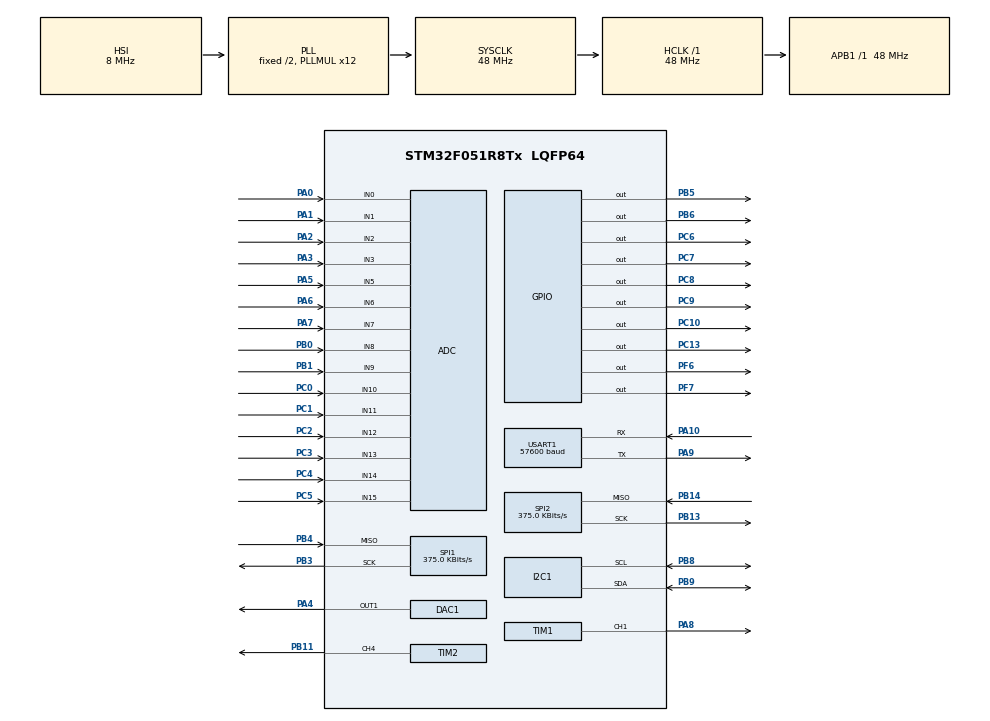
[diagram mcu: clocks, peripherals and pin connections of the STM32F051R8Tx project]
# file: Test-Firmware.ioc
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DAC1.DAC_OutputBuffer=DAC_OUTPUTBUFFER_ENABLE
Dma.ADC.0.Direction=DMA_PERIPH_TO_MEMORY
Dma.ADC.0.Instance=DMA1_Channel1
Dma.ADC.0.MemDataAlignment=DMA_MDATAALIGN_HALFWORD
Dma.ADC.0.MemInc=DMA_MINC_ENABLE
Dma.ADC.0.Mode=DMA_NORMAL
Dma.ADC.0.PeriphDataAlignment=DMA_PDATAALIGN_HALFWORD
Dma.ADC.0.PeriphInc=DMA_PINC_DISABLE
Dma.ADC.0.Priority=DMA_PRIORITY_LOW
Dma.Request0=ADC
Mcu.Family=STM32F0
Mcu.Name=STM32F051R8Tx
Mcu.Package=LQFP64
NVIC.DMA1_Channel1_IRQn=true\:0\:0\:false\:false\:true\:false\:true\:true
NVIC.TIM1_BRK_UP_TRG_COM_IRQn=true\:1\:0\:true\:false\:true\:true\:true\:true
NVIC.TIM1_CC_IRQn=true\:1\:0\:true\:false\:true\:true\:true\:true
NVIC.TIM2_IRQn=true\:1\:0\:true\:false\:true\:true\:true\:true
NVIC.USART1_IRQn=true\:0\:0\:true\:false\:true\:true\:true\:true
PA0.Mode=IN0
PA0.Signal=ADC_IN0
PA1.Mode=IN1
PA1.Signal=ADC_IN1
PA10.Mode=Asynchronous
PA10.Signal=USART1_RX
PA13.Mode=Serial_Wire
PA13.Signal=SYS_SWDIO
PA14.Mode=Serial_Wire
PA14.Signal=SYS_SWCLK
PA2.Mode=IN2
PA2.Signal=ADC_IN2
PA3.Mode=IN3
PA3.Signal=ADC_IN3
PA4.Signal=COMP_DAC11_group
PA5.Mode=IN5
PA5.Signal=ADC_IN5
PA6.Mode=IN6
PA6.Signal=ADC_IN6
PA7.Mode=IN7
PA7.Signal=ADC_IN7
PA8.Signal=S_TIM1_CH1
PA9.Mode=Asynchronous
PA9.Signal=USART1_TX
PB0.Mode=IN8
PB0.Signal=ADC_IN8
PB1.Mode=IN9
PB1.Signal=ADC_IN9
PB11.Signal=S_TIM2_CH4
PB13.Mode=RX_Only_Simplex_Unidirect_Master
PB13.Signal=SPI2_SCK
PB14.Mode=RX_Only_Simplex_Unidirect_Master
PB14.Signal=SPI2_MISO
PB3.Mode=RX_Only_Simplex_Unidirect_Master
PB3.Signal=SPI1_SCK
PB4.Mode=RX_Only_Simplex_Unidirect_Master
PB4.Signal=SPI1_MISO
PB5.Signal=GPIO_Output
PB6.Signal=GPIO_Output
PB8.Mode=I2C
PB8.Signal=I2C1_SCL
PB9.Mode=I2C
PB9.Signal=I2C1_SDA
PC0.Mode=IN10
PC0.Signal=ADC_IN10
PC1.Mode=IN11
PC1.Signal=ADC_IN11
PC10.Signal=GPIO_Output
PC13.Signal=GPIO_Output
PC14-OSC32_IN.Mode=LSE-External-Oscillator
PC14-OSC32_IN.Signal=RCC_OSC32_IN
PC15-OSC32_OUT.Mode=LSE-External-Oscillator
PC15-OSC32_OUT.Signal=RCC_OSC32_OUT
PC2.Mode=IN12
PC2.Signal=ADC_IN12
PC3.Mode=IN13
PC3.Signal=ADC_IN13
PC4.Mode=IN14
PC4.Signal=ADC_IN14
PC5.Mode=IN15
PC5.Signal=ADC_IN15
PC6.Signal=GPIO_Output
PC7.Signal=GPIO_Output
PC8.Signal=GPIO_Output
PC9.Signal=GPIO_Output
PF0-OSC_IN.Mode=HSE-External-Oscillator
PF0-OSC_IN.Signal=RCC_OSC_IN
PF1-OSC_OUT.Mode=HSE-External-Oscillator
PF1-OSC_OUT.Signal=RCC_OSC_OUT
PF6.Signal=GPIO_Output
PF7.Signal=GPIO_Output
ProjectManager.HeapSize=0x200
ProjectManager.StackSize=0x400
ProjectManager.TargetToolchain=STM32CubeIDE
RCC.AHBFreq_Value=48000000
RCC.APB1Freq_Value=48000000
RCC.APB1TimFreq_Value=48000000
RCC.HCLKFreq_Value=48000000
RCC.PLLMUL=RCC_PLL_MUL12
RCC.SYSCLKFreq_VALUE=48000000
RCC.SYSCLKSource=RCC_SYSCLKSOURCE_PLLCLK
RCC.Usart1ClockSelection=RCC_USART1CLKSOURCE_HSI
SH.COMP_DAC11_group.0=DAC1_OUT1,DAC_OUT1
SH.S_TIM1_CH1.0=TIM1_CH1,PWM Generation1 CH1
SH.S_TIM2_CH4.0=TIM2_CH4,PWM Generation4 CH4
SPI1.BaudRatePrescaler=SPI_BAUDRATEPRESCALER_128
SPI1.CalculateBaudRate=375.0 KBits/s
SPI1.DataSize=SPI_DATASIZE_16BIT
SPI1.Direction=SPI_DIRECTION_2LINES_RXONLY
SPI1.Mode=SPI_MODE_MASTER
SPI1.VirtualType=VM_MASTER
SPI2.BaudRatePrescaler=SPI_BAUDRATEPRESCALER_128
SPI2.CalculateBaudRate=375.0 KBits/s
SPI2.DataSize=SPI_DATASIZE_16BIT
SPI2.Direction=SPI_DIRECTION_2LINES_RXONLY
SPI2.Mode=SPI_MODE_MASTER
SPI2.VirtualType=VM_MASTER
TIM1.AutoReloadPreload=TIM_AUTORELOAD_PRELOAD_ENABLE
TIM1.Channel-PWM\ Generation1\ CH1=TIM_CHANNEL_1
TIM1.Period=48000 - 1
TIM1.Prescaler=100 - 1
TIM1.Pulse-PWM\ Generation1\ CH1=480 -1
TIM2.AutoReloadPreload=TIM_AUTORELOAD_PRELOAD_ENABLE
TIM2.Channel-PWM\ Generation4\ CH4=TIM_CHANNEL_4
TIM2.Period=150 - 1
TIM2.Prescaler=1000 - 1
TIM2.Pulse-PWM\ Generation4\ CH4=30 - 1
USART1.BaudRate=57600
USART1.VirtualMode-Asynchronous=VM_ASYNC
VP_ADC_TempSens_Input.Mode=IN-TempSens
VP_ADC_Vref_Input.Mode=IN-Vrefint
VP_TIM1_VS_ClockSourceINT.Mode=Internal
VP_TIM2_VS_ClockSourceINT.Mode=Internal
board=custom

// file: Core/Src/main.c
/* USER CODE BEGIN Header */
// ---------------------------- FIRMWARE -------------------------------
/**
 ******************************************************************************
 * @file           : main.c
 * @brief          : Main program body
 ******************************************************************************
 * @attention
 *
 * Copyright (c) 2022 STMicroelectronics.
 * All rights reserved.
 *
 * This software is licensed under terms that can be found in the LICENSE file
 * in the root directory of this software component.
 * If no LICENSE file comes with this software, it is provided AS-IS.
 *
 ******************************************************************************
 */
/* USER CODE END Header */
#include "main.h"

/* USER CODE BEGIN Includes */
#include <stdlib.h>
#include <string.h>
/* USER CODE END Includes */

/* USER CODE BEGIN PTD */
typedef struct
{
  GPIO_TypeDef *gpio;
  uint16_t pin;
} gpio_pins;
const int HK_CADENCE = 1; // Should be set at 5
const gpio_pins gpios[] = {{GPIOB, GPIO_PIN_5}, {GPIOB, GPIO_PIN_6}, {GPIOC, GPIO_PIN_10}, {GPIOC, GPIO_PIN_13}, {GPIOC, GPIO_PIN_7}, {GPIOC, GPIO_PIN_8}, {GPIOC, GPIO_PIN_9}, {GPIOC, GPIO_PIN_6}, {GPIOF, GPIO_PIN_6}, {GPIOF, GPIO_PIN_7}};

/* USER CODE END PTD */

ADC_HandleTypeDef hadc;
DMA_HandleTypeDef hdma_adc;

DAC_HandleTypeDef hdac1;

I2C_HandleTypeDef hi2c1;

SPI_HandleTypeDef hspi1;
SPI_HandleTypeDef hspi2;

TIM_HandleTypeDef htim1;
TIM_HandleTypeDef htim2;

UART_HandleTypeDef huart1;

/* USER CODE BEGIN PV */
#define BUFFER_SIZE 100
unsigned char rx_buf[BUFFER_SIZE];
UART_WakeUpTypeDef WakeUpSelection;

/* Hexadecimal Addresses for I2C Temperature Sensors */
static const uint8_t ADT7410_1 = 0x48 << 1;
static const uint8_t ADT7410_2 = 0x4A << 1;
static const uint8_t ADT7410_3 = 0x49 << 1;
static const uint8_t ADT7410_4 = 0x4B << 1;

/* Internal ADC DMA variables */
#define ADCRESULTSDMA_LENGTH 17
volatile uint16_t adcResultsDMA[ADCRESULTSDMA_LENGTH];                        // array to store results of Internal ADC Poll (not sure if it has to be "volatile")
const int adcChannelCount = sizeof(adcResultsDMA) / sizeof(adcResultsDMA[0]); // variable to store the number of ADCs in use

/* DAC Variables for SWP */
uint32_t DAC_OUT[10] = {0, 0, 620, 1241, 1861, 2482, 3103, 3723, 4095, 4095}; // For 3.3 volts
uint8_t step = 0;
int auto_sweep = 0;
int is_increasing = 1;

/* SPI Variables */
int pmt_raw;           // Stores raw pmt SPI value
int erpa_raw;          // Stores raw epra SPI value
const int WRITE = 0x1; // Hex 0x1 that is sent to external ADC to trigger transfer of data

/* ERPA Packet Variables */
int SAMPLING_FACTOR = 1;
int FACTOR_COUNTER = 0;
int SWP_FACTOR_COUNTER = 0;

/* UART Variables */
const uint8_t erpa_sync = 0xAA; // SYNC byte to let packet interpreter / OBC know which packet is which
uint16_t erpa_seq = 0;          // SEQ byte which keeps track of what # ERPA packet is being sent (0-65535)
const uint8_t pmt_sync = 0xBB;  // SYNC byte to let packet interpreter / OBC know which packet is which
uint16_t pmt_seq = 0;           // SEQ byte which keeps track of what # ERPA packet is being sent (0-65535)
const uint8_t hk_sync = 0xCC;   // SYNC byte to let packet interpreter / OBC know which packet is which
uint16_t hk_seq = 0;            // SEQ byte which keeps track of what # HK packet is being sent (0-65535)

int hk_counter = 0; // counter to know when to send HK packet (sent every 50 ERPA packets)
                    // we put them in the same routine and send HK when this count == 50
uint8_t PMT_ON = 0;
uint8_t ERPA_ON = 0;
uint8_t HK_ON = 0;

static const uint8_t REG_TEMP = 0x00;
/* USER CODE END PV */

void SystemClock_Config(void);
static void MX_GPIO_Init(void);
static void MX_DMA_Init(void);
static void MX_SPI2_Init(void);
static void MX_TIM1_Init(void);
static void MX_TIM2_Init(void);
static void MX_SPI1_Init(void);
static void MX_USART1_UART_Init(void);
static void MX_DAC1_Init(void);
static void MX_ADC_Init(void);
static void MX_I2C1_Init(void);

/* USER CODE BEGIN 0 */

/**
 * @brief function to poll individual i2c sensor
 *
 * @param TEMP_ADDR address of individual i2c sensor
 * @return int16_t integer result from sensor
 */
int16_t poll_i2c_sensor(const uint8_t TEMP_ADDR)
{
  int16_t output;
  uint8_t buf[2];
  HAL_StatusTypeDef ret;
  buf[0] = REG_TEMP;
  ret = HAL_I2C_Master_Transmit(&hi2c1, TEMP_ADDR, buf, 1,
                                1000);
  if (ret != HAL_OK)
  {
    strcpy((char *)buf, "Error Tx\r\n");
  }
  else
  {
    /* Read 2 bytes from the temperature register */
    ret = HAL_I2C_Master_Receive(&hi2c1, TEMP_ADDR, buf, 2,
                                 1000);
    if (ret != HAL_OK)
    {
      strcpy((char *)buf, "Error Rx\r\n");
    }
    else
    {
      output = (int16_t)(buf[0] << 8);
      output = (output | buf[1]) >> 3;
    }
  }
  return output;
}

/**
 * @brief called in hk routine to poll each i2c sensor
 *
 * @return int16_t* size 4 buffer to return i2c values
 */
int16_t *i2c()
{
  int16_t output1 = poll_i2c_sensor(ADT7410_1);
  int16_t output2 = poll_i2c_sensor(ADT7410_2);
  int16_t output3 = poll_i2c_sensor(ADT7410_3);
  int16_t output4 = poll_i2c_sensor(ADT7410_4);

  int16_t *results = malloc(4 * sizeof(int16_t));
  results[0] = output1;
  results[1] = output2;
  results[2] = output3;
  results[3] = output4;
  return results;
}

/**
 * @brief polls hk adcs
 *
 * @param adc which adc to call (currently not being used)
 * @return uint16_t* results of hk adcs
 */
uint16_t *hk_adc(ADC_HandleTypeDef *adc)
{

  HAL_ADC_Start_DMA(&hadc, (uint32_t *)adcResultsDMA,
                    adcChannelCount);

  uint16_t PA1 = adcResultsDMA[1];       // ADC_IN1, BUS_Vmon: instrument bus voltage monitor
  uint16_t PA2 = adcResultsDMA[2];       // ADC_IN2, BUS_Imon: instrument bus current monitor
  uint16_t PA3 = adcResultsDMA[3];       // ADC_IN3, 3v3_mon: Accurate 5V for ADC monitor
  uint16_t PA5 = adcResultsDMA[4];       // ADC_IN5, n150v_mon: n150 voltage monitor
  uint16_t PA6 = adcResultsDMA[5];       // ADC_IN6, n800v_mon: n800 voltage monitor
  uint16_t PC0 = adcResultsDMA[9];       // ADC_IN10, 2v5_mon: 2.5v voltage monitor
  uint16_t PC1 = adcResultsDMA[10];      // ADC_IN11, n5v_mon: n5v voltage monitor
  uint16_t PC2 = adcResultsDMA[11];      // ADC_IN12, 5v_mon: 5v voltage monitor
  uint16_t PC3 = adcResultsDMA[12];      // ADC_IN13, n3v3_mon: n3v3 voltage monitor
  uint16_t PC4 = adcResultsDMA[13];      // ADC_IN14, 5vref_mon: 5v reference voltage monitor
  uint16_t PC5 = adcResultsDMA[14];      // ADC_IN15, 15v_mon: 15v voltage monitor
  uint16_t MCU_TEMP = adcResultsDMA[15]; //(internally connected) ADC_IN16, VSENSE
  uint16_t MCU_VREF = adcResultsDMA[16]; //(internally connected) ADC_IN17, VREFINT

  uint16_t *results = malloc(13 * sizeof(uint16_t));
  results[0] = MCU_TEMP;
  results[1] = MCU_VREF;
  results[2] = PA1;
  results[3] = PA2;
  results[4] = PC0;
  results[5] = PA3;
  results[6] = PC2;
  results[7] = PC3;
  results[8] = PC1;
  results[9] = PC5;
  results[10] = PC4;
  results[11] = PA5;
  results[12] = PA6;

  return results;
}

/**
 * @brief polls erpa adcs
 *
 * @return uint16_t* results of erpa adcs
 */
uint16_t *erpa_adc()
{

  HAL_ADC_Start_DMA(&hadc, (uint32_t *)adcResultsDMA,
                    adcChannelCount);
  uint16_t PA0 = adcResultsDMA[0]; // ADC_IN0, END_mon: entrance/collimator monitor
  uint16_t PA7 = adcResultsDMA[6]; // ADC_IN7, SWP_mon: Sweep voltage monitor
  uint16_t PB0 = adcResultsDMA[7]; // ADC_IN8, TMP 1: Sweep temperature
  uint16_t PB1 = adcResultsDMA[8]; // ADC_IN9, TMP 2: feedbacks

  uint16_t *results = malloc(4 * sizeof(uint16_t));

  results[0] = PA0;
  results[1] = PA7;
  results[2] = PB0;
  results[3] = PB1;

  return results;
}

/**
 * @brief Set the erpa sweep value
 *
 */
void set_erpa_sweep()
{
  DAC->DHR12R1 = DAC_OUT[step];
}

/**
 * @brief if auto sweep is enabled, will increase step
 *
 */
void do_auto_sweep()
{
  if (step == 9)
  {
	  is_increasing = 0;
	  step--;
  }
  else if (step == 0)
  {
    is_increasing = 1;
    step++;
  }

  if (is_increasing)
  {
    step++;
  }
  else
  {
    step--;
  }

  DAC->DHR12R1 = DAC_OUT[step];
}

/**
 * @brief polls respective spi sensor and returns uint16_t value
 *
 * @param spi given spi peripheral
 * @return uint16_t raw value from reading spi peripheral
 */
uint16_t spi(SPI_HandleTypeDef spi)
{
  /* Write to SPI (begin transfer?) */
  HAL_SPI_Transmit(&spi, (uint8_t *)&WRITE, 1, 1);
  spi.Instance->CR1 &= ~(1 << 10); // THIS IS NEEDED TO STOP SPI1_SCK FROM GENERATING CLOCK PULSES
  while (!(spi.Instance->SR))
    ;
  uint16_t raw = spi.Instance->DR;
  return raw;
}

/**
 * @brief sends erpa packet via UART
 *
 * @param erpa_spi erpa spi raw value
 * @param erpa_adc_results erpa adc results
 */
void send_erpa_packet(int erpa_spi, uint16_t *erpa_adc_results)
{

  uint8_t erpa_buf[14];
  erpa_buf[0] = erpa_sync;                              // ERPA SYNC 0xAA MSB
  erpa_buf[1] = erpa_sync;                              // ERPA SYNC 0xAA LSB
  erpa_buf[2] = ((erpa_seq & 0xFF00) >> 8);             // ERPA SEQ # MSB
  erpa_buf[3] = (erpa_seq & 0xFF);                      // ERPA SEQ # MSB
  erpa_buf[4] = ((erpa_adc_results[0]) >> 8);           // ENDmon MSB
  erpa_buf[5] = (erpa_adc_results[0] & 0xFF);           // ENDmon LSB
  erpa_buf[6] = ((erpa_adc_results[1] & 0xFF00) >> 8);  // SWP Monitored MSB
  erpa_buf[7] = (erpa_adc_results[1] & 0xFF);           // SWP Monitored LSB
  erpa_buf[8] = ((erpa_adc_results[2] & 0xFF00) >> 8);  // TEMPURATURE 1 MSB
  erpa_buf[9] = (erpa_adc_results[2] & 0xFF);           // TEMPURATURE 1 LSB
  erpa_buf[10] = ((erpa_adc_results[3] & 0xFF00) >> 8); // TEMPURATURE 2 MSB
  erpa_buf[11] = (erpa_adc_results[3] & 0xFF);          // TEMPURATURE 2 LSB
  erpa_buf[12] = ((erpa_spi & 0xFF00) >> 8);            // ERPA eADC MSB
  erpa_buf[13] = (erpa_spi & 0xFF);                     // ERPA eADC LSB

  HAL_UART_Transmit(&huart1, erpa_buf, sizeof(erpa_buf), 100);

  erpa_seq++;
}

/**
 * @brief sends hk packet via UART
 *
 * @param i2c_values values of all i2c sensors
 * @param hk_adc_results hk adc results
 */
void send_hk_packet(int16_t *i2c_values, uint16_t *hk_adc_results)
{

  uint8_t hk_buf[38];                              // buffer that is filled with HK packet info
  hk_buf[0] = hk_sync;                             // HK SYNC 0xCC MSB					0 SYNC
  hk_buf[1] = hk_sync;                             // HK SYNC 0xCC LSB
  hk_buf[2] = ((hk_seq & 0xFF00) >> 8);            // HK SEQ # MSB		1 SEQUENCE
  hk_buf[3] = (hk_seq & 0xFF);                     // HK SEQ # LSB
  hk_buf[4] = ((hk_adc_results[0] & 0xFF00) >> 8); // VSENSE MSB		13 VSENSE
  hk_buf[5] = (hk_adc_results[0] & 0xFF);          // VSENSE LSB
  hk_buf[6] = ((hk_adc_results[1] & 0xFF00) >> 8);
  hk_buf[7] = (hk_adc_results[1] & 0xFF);
  hk_buf[8] = ((i2c_values[0] & 0xFF00) >> 8);
  hk_buf[9] = (i2c_values[0] & 0xFF);
  hk_buf[10] = ((i2c_values[1] & 0xFF00) >> 8);
  hk_buf[11] = (i2c_values[1] & 0xFF);
  hk_buf[12] = ((i2c_values[2] & 0xFF00) >> 8);
  hk_buf[13] = (i2c_values[2] & 0xFF);
  hk_buf[14] = ((i2c_values[3] & 0xFF00) >> 8);
  hk_buf[15] = (i2c_values[3] & 0xFF);
  hk_buf[16] = ((hk_adc_results[2] & 0xFF00) >> 8);  // BUS_Vmon MSB			2 BUS_VMON PA1
  hk_buf[17] = (hk_adc_results[2] & 0xFF);           // BUS_Vmon LSB
  hk_buf[18] = ((hk_adc_results[3] & 0xFF00) >> 8);  // BUS_Imon MSB			3 BUS_IMON PA2
  hk_buf[19] = (hk_adc_results[3] & 0xFF);           // BUS_Imon LSB
  hk_buf[20] = ((hk_adc_results[4] & 0xFF00) >> 8);  // 2v5_mon MSB			7 2V5_MON PC0
  hk_buf[21] = (hk_adc_results[4] & 0xFF);           // 2v5_mon LSB
  hk_buf[22] = ((hk_adc_results[5] & 0xFF00) >> 8);  // 3v3_mon MSB			4 3v3_MON PA3
  hk_buf[23] = (hk_adc_results[5] & 0xFF);           // 3v3_mon LSB
  hk_buf[24] = ((hk_adc_results[6]) >> 8);           // 5v_mon MSB			9 5V_MON PC2
  hk_buf[25] = (hk_adc_results[6] & 0xFF);           // 5v_mon LSB
  hk_buf[26] = ((hk_adc_results[7] & 0xFF00) >> 8);  // n3v3_mon MSB			10 N3V3_MON PC3
  hk_buf[27] = (hk_adc_results[7] & 0xFF);           // n3v3_mon LSB
  hk_buf[28] = ((hk_adc_results[8] & 0xFF00) >> 8);  // n5v_mon MSB			8 N5V_MON PC1
  hk_buf[29] = (hk_adc_results[8] & 0xFF);           // n5v_mon LSB
  hk_buf[30] = ((hk_adc_results[9] & 0xFF00) >> 8);  // 15v_mon MSB			12 15V_MON PC5
  hk_buf[31] = (hk_adc_results[9] & 0xFF);           // 15v_mon LSB
  hk_buf[32] = ((hk_adc_results[10] & 0xFF00) >> 8); // 5vref_mon MSB		11 5VREF_MON PC4
  hk_buf[33] = (hk_adc_results[10] & 0xFF);          // 5vref_mon LSB
  hk_buf[34] = ((hk_adc_results[11] & 0xFF00) >> 8); // n150v_mon MSB		5 N150V_MON PA5
  hk_buf[35] = (hk_adc_results[11] & 0xFF);          // n150v_mon LSB
  hk_buf[36] = ((hk_adc_results[12] & 0xFF00) >> 8); // n800v_mon MSB		6 N800V_MON PA6
  hk_buf[37] = (hk_adc_results[12] & 0xFF);          // n800v_mon LSB

  HAL_UART_Transmit(&huart1, hk_buf, sizeof(hk_buf), 100);
  hk_counter = 1;
  hk_seq++;
}

/**
 * @brief sends pmt packet via UART
 *
 * @param pmt_spi raw pmt spi value
 */
void send_pmt_packet(uint16_t pmt_spi)
{

  uint8_t pmt_buf[6];
  pmt_buf[0] = pmt_sync;
  pmt_buf[1] = pmt_sync;
  pmt_buf[2] = ((pmt_seq & 0xFF00) >> 8);
  pmt_buf[3] = (pmt_seq & 0xFF);
  pmt_buf[4] = ((pmt_raw & 0xFF00) >> 8);
  pmt_buf[5] = (pmt_raw & 0xFF);

  HAL_UART_Transmit(&huart1, pmt_buf, sizeof(pmt_buf), 100);
  pmt_seq++;
}

/**
 * @brief timer interrupt function
 * will either be passed htim1 or htim2
 * performs necessary routines for given timer
 *
 * @param htim
 */
void HAL_TIM_OC_DelayElapsedCallback(TIM_HandleTypeDef *htim)
{
  if (htim == &htim2)
  {
    FACTOR_COUNTER++;
    SWP_FACTOR_COUNTER++;

    if (FACTOR_COUNTER == SAMPLING_FACTOR)
    {
      FACTOR_COUNTER = 0;
      if (ERPA_ON)
      {
        while (HAL_GPIO_ReadPin(GPIOB, GPIO_PIN_11))
          ;

		erpa_raw = spi(hspi2);
		uint16_t *erpa_adc_results = erpa_adc();

		if (SWP_FACTOR_COUNTER == (SAMPLING_FACTOR * 2)) {
			if (auto_sweep)
			{
			  do_auto_sweep();
			} else {
			  set_erpa_sweep();
			}
			SWP_FACTOR_COUNTER = 0;
		}

        send_erpa_packet(erpa_raw, erpa_adc_results);

        free(erpa_adc_results);
      }
      if (HK_ON)
      {
        int16_t *i2c_values = i2c();
        uint16_t *hk_adc_results = hk_adc(&hadc);

        send_hk_packet(i2c_values, hk_adc_results);

        free(i2c_values);
        free(hk_adc_results);
      }
      else
      {
        hk_counter++;
      }
    }
  }
  if (htim == &htim1)
  {
    if (PMT_ON)
    {
      while (HAL_GPIO_ReadPin(GPIOA, GPIO_PIN_8))
        ;

      pmt_raw = spi(hspi1);

      send_pmt_packet(pmt_raw);
    }
  }
}

/**
 * @brief UART rx interrupt function
 *
 * @param huart UART peripheral to receive from
 */
void HAL_UART_RxCpltCallback(UART_HandleTypeDef *huart)
{

  HAL_UART_Receive_IT(&huart1, rx_buf, 1);
  unsigned char key = rx_buf[0];

  switch (key)
  {
  case 0x0B:
  {
    HAL_GPIO_WritePin(gpios[8].gpio, gpios[8].pin, GPIO_PIN_SET);
    break;
  }
  case 0x0A:
  {
    HAL_GPIO_WritePin(gpios[8].gpio, gpios[8].pin, GPIO_PIN_RESET);
    break;
  }

  case 0x08:
  {
    HAL_GPIO_WritePin(gpios[9].gpio, gpios[9].pin, GPIO_PIN_SET);
    break;
  }
  case 0x09:
  {
    HAL_GPIO_WritePin(gpios[9].gpio, gpios[9].pin, GPIO_PIN_RESET);
    break;
  }
  case 0x1B:
  {
    if (step < 9)
    {
      step++;
    }
    break;
  }
  case 0x1C:
  {
    if (step > 0)
    {
      step--;
    }
    break;
  }
  case 0x1D:
  {
    if (!auto_sweep)
    {
      auto_sweep = 1;
      step = 0;
    }
    else
    {
      auto_sweep = 0;
      step = 0;
    }
    break;
  }
  case 0x24:
  {
    if (SAMPLING_FACTOR < 32)
    {
      SAMPLING_FACTOR *= 2;
      FACTOR_COUNTER = 0;
      SWP_FACTOR_COUNTER = 0;
    }
    break;
  }
  case 0x25:
  {
    if (SAMPLING_FACTOR > 1)
    {
      SAMPLING_FACTOR /= 2;
      FACTOR_COUNTER = 0;
      SWP_FACTOR_COUNTER = 0;
    }
    break;
  }
  case 0x00:
  {
    HAL_GPIO_WritePin(gpios[0].gpio, gpios[0].pin, GPIO_PIN_SET);
    break;
  }
  case 0x13:
  {
    HAL_GPIO_WritePin(gpios[0].gpio, gpios[0].pin, GPIO_PIN_RESET);
    break;
  }
  case 0x01:
  {
    HAL_GPIO_WritePin(gpios[1].gpio, gpios[1].pin, GPIO_PIN_SET);
    break;
  }
  case 0x14:
  {
    HAL_GPIO_WritePin(gpios[1].gpio, gpios[1].pin, GPIO_PIN_RESET);
    break;
  }
  case 0x02:
  {
    HAL_GPIO_WritePin(gpios[2].gpio, gpios[2].pin, GPIO_PIN_SET);
    break;
  }
  case 0x15:
  {
    HAL_GPIO_WritePin(gpios[2].gpio, gpios[2].pin, GPIO_PIN_RESET);
    break;
  }
  case 0x03:
  {
    HAL_GPIO_WritePin(gpios[3].gpio, gpios[3].pin, GPIO_PIN_SET);
    break;
  }
  case 0x16:
  {
    HAL_GPIO_WritePin(gpios[3].gpio, gpios[3].pin, GPIO_PIN_RESET);
    break;
  }
  case 0x04:
  {
    HAL_GPIO_WritePin(gpios[4].gpio, gpios[4].pin, GPIO_PIN_SET);
    break;
  }
  case 0x17:
  {
    HAL_GPIO_WritePin(gpios[4].gpio, gpios[4].pin, GPIO_PIN_RESET);
    break;
  }
  case 0x05:
  {
    HAL_GPIO_WritePin(gpios[5].gpio, gpios[5].pin, GPIO_PIN_SET);
    break;
  }
  case 0x18:
  {
    HAL_GPIO_WritePin(gpios[5].gpio, gpios[5].pin, GPIO_PIN_RESET);
    break;
  }
  case 0x06:
  {
    HAL_GPIO_WritePin(gpios[6].gpio, gpios[6].pin, GPIO_PIN_SET);
    break;
  }
  case 0x19:
  {
    HAL_GPIO_WritePin(gpios[6].gpio, gpios[6].pin, GPIO_PIN_RESET);
    break;
  }
  case 0x07:
  {
    HAL_GPIO_WritePin(gpios[7].gpio, gpios[7].pin, GPIO_PIN_SET);
    break;
  }
  case 0x1A:
  {
    HAL_GPIO_WritePin(gpios[7].gpio, gpios[7].pin, GPIO_PIN_RESET);
    break;
  }
  case 0x0C:
  {
    HAL_SuspendTick();
    HAL_PWR_EnterSTOPMode(PWR_LOWPOWERREGULATOR_ON, PWR_STOPENTRY_WFI);
    NVIC_SystemReset();
    break;
  }
  case 0x0D:
  {
    PMT_ON = 1;
    HAL_TIM_OC_Start_IT(&htim1, TIM_CHANNEL_1);
    break;
  }
  case 0x10:
  {
    PMT_ON = 0;
    HAL_TIM_OC_Stop_IT(&htim1, TIM_CHANNEL_1);
    break;
  }
  case 0x0E:
  {
    ERPA_ON = 1;
    HAL_TIM_OC_Start_IT(&htim2, TIM_CHANNEL_4);
    break;
  }
  case 0x11:
  {
    ERPA_ON = 0;
    HAL_TIM_OC_Stop_IT(&htim2, TIM_CHANNEL_4);
    break;
  }
  case 0x0F:
  {
    HK_ON = 1;
    break;
  }
  case 0x12:
  {
    HK_ON = 0;
    break;
  }
  }
}

/* USER CODE END 0 */

int main(void)
{

  /* MCU Configuration--------------------------------------------------------*/

  /* Reset of all peripherals, Initializes the Flash interface and the Systick. */
  HAL_Init();

  /* USER CODE BEGIN Init */
  HAL_StatusTypeDef ret;
  /* USER CODE END Init */

  /* Configure the system clock */
  SystemClock_Config();

  /* Initialize all configured peripherals */
  MX_GPIO_Init();
  MX_DMA_Init();
  MX_SPI2_Init();
  MX_TIM1_Init();
  MX_TIM2_Init();
  MX_SPI1_Init();
  MX_USART1_UART_Init();
  MX_DAC1_Init();
  MX_ADC_Init();
  MX_I2C1_Init();
  /* USER CODE BEGIN 2 */

  HAL_DAC_Start(&hdac1, DAC_CHANNEL_1);

  /* Start Timers with OC & Interrupt */

  while (__HAL_UART_GET_FLAG(&huart1, USART_ISR_BUSY) == SET)
    ;
  while (__HAL_UART_GET_FLAG(&huart1, USART_ISR_REACK) == RESET)
    ;

  WakeUpSelection.WakeUpEvent = UART_WAKEUP_ON_ADDRESS;
  WakeUpSelection.AddressLength = UART_ADDRESS_DETECT_7B;
  WakeUpSelection.Address = 0x5B; // send "["

  if (HAL_UARTEx_StopModeWakeUpSourceConfig(&huart1, WakeUpSelection) != HAL_OK)
  {
    Error_Handler();
  }
  /* Enable the LPUART Wake UP from stop mode Interrupt */
  __HAL_UART_ENABLE_IT(&huart1, UART_IT_WUF);

  /* enable MCU wake-up by LPUART */
  HAL_UARTEx_EnableStopMode(&huart1);
  /* USER CODE END 2 */

  /* Infinite loop */
  /* USER CODE BEGIN WHILE */
  while (1)
  {
    HAL_UART_Receive_IT(&huart1, rx_buf, 1);

    /* USER CODE END WHILE */

  }
}

void SystemClock_Config(void)
{
  RCC_OscInitTypeDef RCC_OscInitStruct = {0};
  RCC_ClkInitTypeDef RCC_ClkInitStruct = {0};
  RCC_PeriphCLKInitTypeDef PeriphClkInit = {0};

  /** Initializes the RCC Oscillators according to the specified parameters
  * in the RCC_OscInitTypeDef structure.
  */
  RCC_OscInitStruct.OscillatorType = RCC_OSCILLATORTYPE_HSI|RCC_OSCILLATORTYPE_HSI14;
  RCC_OscInitStruct.HSIState = RCC_HSI_ON;
  RCC_OscInitStruct.HSI14State = RCC_HSI14_ON;
  RCC_OscInitStruct.HSICalibrationValue = RCC_HSICALIBRATION_DEFAULT;
  RCC_OscInitStruct.HSI14CalibrationValue = 16;
  RCC_OscInitStruct.PLL.PLLState = RCC_PLL_ON;
  RCC_OscInitStruct.PLL.PLLSource = RCC_PLLSOURCE_HSI;
  RCC_OscInitStruct.PLL.PLLMUL = RCC_PLL_MUL12;
  RCC_OscInitStruct.PLL.PREDIV = RCC_PREDIV_DIV1;
  if (HAL_RCC_OscConfig(&RCC_OscInitStruct) != HAL_OK)
  {
    Error_Handler();
  }

  /** Initializes the CPU, AHB and APB buses clocks
  */
  RCC_ClkInitStruct.ClockType = RCC_CLOCKTYPE_HCLK|RCC_CLOCKTYPE_SYSCLK
                              |RCC_CLOCKTYPE_PCLK1;
  RCC_ClkInitStruct.SYSCLKSource = RCC_SYSCLKSOURCE_PLLCLK;
  RCC_ClkInitStruct.AHBCLKDivider = RCC_SYSCLK_DIV1;
  RCC_ClkInitStruct.APB1CLKDivider = RCC_HCLK_DIV1;

  if (HAL_RCC_ClockConfig(&RCC_ClkInitStruct, FLASH_LATENCY_1) != HAL_OK)
  {
    Error_Handler();
  }
  PeriphClkInit.PeriphClockSelection = RCC_PERIPHCLK_USART1|RCC_PERIPHCLK_I2C1;
  PeriphClkInit.Usart1ClockSelection = RCC_USART1CLKSOURCE_HSI;
  PeriphClkInit.I2c1ClockSelection = RCC_I2C1CLKSOURCE_HSI;
  if (HAL_RCCEx_PeriphCLKConfig(&PeriphClkInit) != HAL_OK)
  {
    Error_Handler();
  }
}

static void MX_ADC_Init(void)
{

  ADC_ChannelConfTypeDef sConfig = {0};

  /** Configure the global features of the ADC (Clock, Resolution, Data Alignment and number of conversion)
  */
  hadc.Instance = ADC1;
  hadc.Init.ClockPrescaler = ADC_CLOCK_ASYNC_DIV1;
  hadc.Init.Resolution = ADC_RESOLUTION_12B;
  hadc.Init.DataAlign = ADC_DATAALIGN_RIGHT;
  hadc.Init.ScanConvMode = ADC_SCAN_DIRECTION_FORWARD;
  hadc.Init.EOCSelection = ADC_EOC_SINGLE_CONV;
  hadc.Init.LowPowerAutoWait = DISABLE;
  hadc.Init.LowPowerAutoPowerOff = DISABLE;
  hadc.Init.ContinuousConvMode = DISABLE;
  hadc.Init.DiscontinuousConvMode = DISABLE;
  hadc.Init.ExternalTrigConv = ADC_SOFTWARE_START;
  hadc.Init.ExternalTrigConvEdge = ADC_EXTERNALTRIGCONVEDGE_NONE;
  hadc.Init.DMAContinuousRequests = DISABLE;
  hadc.Init.Overrun = ADC_OVR_DATA_PRESERVED;
  if (HAL_ADC_Init(&hadc) != HAL_OK)
  {
    Error_Handler();
  }

  /** Configure for the selected ADC regular channel to be converted.
  */
  sConfig.Channel = ADC_CHANNEL_0;
  sConfig.Rank = ADC_RANK_CHANNEL_NUMBER;
  sConfig.SamplingTime = ADC_SAMPLETIME_1CYCLE_5;
  if (HAL_ADC_ConfigChannel(&hadc, &sConfig) != HAL_OK)
  {
    Error_Handler();
  }

  /** Configure for the selected ADC regular channel to be converted.
  */
  sConfig.Channel = ADC_CHANNEL_1;
  if (HAL_ADC_ConfigChannel(&hadc, &sConfig) != HAL_OK)
  {
    Error_Handler();
  }

  /** Configure for the selected ADC regular channel to be converted.
  */
  sConfig.Channel = ADC_CHANNEL_2;
  if (HAL_ADC_ConfigChannel(&hadc, &sConfig) != HAL_OK)
  {
    Error_Handler();
  }

  /** Configure for the selected ADC regular channel to be converted.
  */
  sConfig.Channel = ADC_CHANNEL_3;
  if (HAL_ADC_ConfigChannel(&hadc, &sConfig) != HAL_OK)
  {
    Error_Handler();
  }

  /** Configure for the selected ADC regular channel to be converted.
  */
  sConfig.Channel = ADC_CHANNEL_5;
  if (HAL_ADC_ConfigChannel(&hadc, &sConfig) != HAL_OK)
  {
    Error_Handler();
  }

  /** Configure for the selected ADC regular channel to be converted.
  */
  sConfig.Channel = ADC_CHANNEL_6;
  if (HAL_ADC_ConfigChannel(&hadc, &sConfig) != HAL_OK)
  {
    Error_Handler();
  }

  /** Configure for the selected ADC regular channel to be converted.
  */
  sConfig.Channel = ADC_CHANNEL_7;
  if (HAL_ADC_ConfigChannel(&hadc, &sConfig) != HAL_OK)
  {
    Error_Handler();
  }

  /** Configure for the selected ADC regular channel to be converted.
  */
  sConfig.Channel = ADC_CHANNEL_8;
  if (HAL_ADC_ConfigChannel(&hadc, &sConfig) != HAL_OK)
  {
    Error_Handler();
  }

  /** Configure for the selected ADC regular channel to be converted.
  */
  sConfig.Channel = ADC_CHANNEL_9;
  if (HAL_ADC_ConfigChannel(&hadc, &sConfig) != HAL_OK)
  {
    Error_Handler();
  }

  /** Configure for the selected ADC regular channel to be converted.
  */
  sConfig.Channel = ADC_CHANNEL_10;
  if (HAL_ADC_ConfigChannel(&hadc, &sConfig) != HAL_OK)
  {
    Error_Handler();
  }

  /** Configure for the selected ADC regular channel to be converted.
  */
  sConfig.Channel = ADC_CHANNEL_11;
  if (HAL_ADC_ConfigChannel(&hadc, &sConfig) != HAL_OK)
  {
    Error_Handler();
  }

  /** Configure for the selected ADC regular channel to be converted.
  */
  sConfig.Channel = ADC_CHANNEL_12;
  if (HAL_ADC_ConfigChannel(&hadc, &sConfig) != HAL_OK)
  {
    Error_Handler();
  }

  /** Configure for the selected ADC regular channel to be converted.
  */
  sConfig.Channel = ADC_CHANNEL_13;
  if (HAL_ADC_ConfigChannel(&hadc, &sConfig) != HAL_OK)
  {
    Error_Handler();
  }

  /** Configure for the selected ADC regular channel to be converted.
  */
  sConfig.Channel = ADC_CHANNEL_14;
  if (HAL_ADC_ConfigChannel(&hadc, &sConfig) != HAL_OK)
  {
    Error_Handler();
  }

  /** Configure for the selected ADC regular channel to be converted.
  */
  sConfig.Channel = ADC_CHANNEL_15;
  if (HAL_ADC_ConfigChannel(&hadc, &sConfig) != HAL_OK)
  {
    Error_Handler();
  }

  /** Configure for the selected ADC regular channel to be converted.
  */
  sConfig.Channel = ADC_CHANNEL_TEMPSENSOR;
  if (HAL_ADC_ConfigChannel(&hadc, &sConfig) != HAL_OK)
  {
    Error_Handler();
  }

  /** Configure for the selected ADC regular channel to be converted.
  */
  sConfig.Channel = ADC_CHANNEL_VREFINT;
  if (HAL_ADC_ConfigChannel(&hadc, &sConfig) != HAL_OK)
  {
    Error_Handler();
  }

}

static void MX_DAC1_Init(void)
{

  /* USER CODE BEGIN DAC1_Init 0 */
  step = 0;
  /* USER CODE END DAC1_Init 0 */

  DAC_ChannelConfTypeDef sConfig = {0};

  /** DAC Initialization
  */
  hdac1.Instance = DAC;
  if (HAL_DAC_Init(&hdac1) != HAL_OK)
  {
    Error_Handler();
  }

  /** DAC channel OUT1 config
  */
  sConfig.DAC_Trigger = DAC_TRIGGER_NONE;
  sConfig.DAC_OutputBuffer = DAC_OUTPUTBUFFER_ENABLE;
  if (HAL_DAC_ConfigChannel(&hdac1, &sConfig, DAC_CHANNEL_1) != HAL_OK)
  {
    Error_Handler();
  }

}

static void MX_I2C1_Init(void)
{

  hi2c1.Instance = I2C1;
  hi2c1.Init.Timing = 0x2000090E;
  hi2c1.Init.OwnAddress1 = 0;
  hi2c1.Init.AddressingMode = I2C_ADDRESSINGMODE_7BIT;
  hi2c1.Init.DualAddressMode = I2C_DUALADDRESS_DISABLE;
  hi2c1.Init.OwnAddress2 = 0;
  hi2c1.Init.OwnAddress2Masks = I2C_OA2_NOMASK;
  hi2c1.Init.GeneralCallMode = I2C_GENERALCALL_DISABLE;
  hi2c1.Init.NoStretchMode = I2C_NOSTRETCH_DISABLE;
  if (HAL_I2C_Init(&hi2c1) != HAL_OK)
  {
    Error_Handler();
  }

  /** Configure Analogue filter
  */
  if (HAL_I2CEx_ConfigAnalogFilter(&hi2c1, I2C_ANALOGFILTER_ENABLE) != HAL_OK)
  {
    Error_Handler();
  }

  /** Configure Digital filter
  */
  if (HAL_I2CEx_ConfigDigitalFilter(&hi2c1, 0) != HAL_OK)
  {
    Error_Handler();
  }

}

static void MX_SPI1_Init(void)
{

  /* SPI1 parameter configuration*/
  hspi1.Instance = SPI1;
  hspi1.Init.Mode = SPI_MODE_MASTER;
  hspi1.Init.Direction = SPI_DIRECTION_2LINES_RXONLY;
  hspi1.Init.DataSize = SPI_DATASIZE_16BIT;
  hspi1.Init.CLKPolarity = SPI_POLARITY_LOW;
  hspi1.Init.CLKPhase = SPI_PHASE_1EDGE;
  hspi1.Init.NSS = SPI_NSS_SOFT;
  hspi1.Init.BaudRatePrescaler = SPI_BAUDRATEPRESCALER_128;
  hspi1.Init.FirstBit = SPI_FIRSTBIT_MSB;
  hspi1.Init.TIMode = SPI_TIMODE_DISABLE;
  hspi1.Init.CRCCalculation = SPI_CRCCALCULATION_DISABLE;
  hspi1.Init.CRCPolynomial = 7;
  hspi1.Init.CRCLength = SPI_CRC_LENGTH_DATASIZE;
  hspi1.Init.NSSPMode = SPI_NSS_PULSE_ENABLE;
  if (HAL_SPI_Init(&hspi1) != HAL_OK)
  {
    Error_Handler();
  }

}

static void MX_SPI2_Init(void)
{

  /* SPI2 parameter configuration*/
  hspi2.Instance = SPI2;
  hspi2.Init.Mode = SPI_MODE_MASTER;
  hspi2.Init.Direction = SPI_DIRECTION_2LINES_RXONLY;
  hspi2.Init.DataSize = SPI_DATASIZE_16BIT;
  hspi2.Init.CLKPolarity = SPI_POLARITY_LOW;
  hspi2.Init.CLKPhase = SPI_PHASE_1EDGE;
  hspi2.Init.NSS = SPI_NSS_SOFT;
  hspi2.Init.BaudRatePrescaler = SPI_BAUDRATEPRESCALER_128;
  hspi2.Init.FirstBit = SPI_FIRSTBIT_MSB;
  hspi2.Init.TIMode = SPI_TIMODE_DISABLE;
  hspi2.Init.CRCCalculation = SPI_CRCCALCULATION_DISABLE;
  hspi2.Init.CRCPolynomial = 7;
  hspi2.Init.CRCLength = SPI_CRC_LENGTH_DATASIZE;
  hspi2.Init.NSSPMode = SPI_NSS_PULSE_ENABLE;
  if (HAL_SPI_Init(&hspi2) != HAL_OK)
  {
    Error_Handler();
  }

}

static void MX_TIM1_Init(void)
{

  TIM_ClockConfigTypeDef sClockSourceConfig = {0};
  TIM_MasterConfigTypeDef sMasterConfig = {0};
  TIM_OC_InitTypeDef sConfigOC = {0};
  TIM_BreakDeadTimeConfigTypeDef sBreakDeadTimeConfig = {0};

  htim1.Instance = TIM1;
  htim1.Init.Prescaler = 100 - 1;
  htim1.Init.CounterMode = TIM_COUNTERMODE_UP;
  htim1.Init.Period = 48000 - 1;
  htim1.Init.ClockDivision = TIM_CLOCKDIVISION_DIV1;
  htim1.Init.RepetitionCounter = 0;
  htim1.Init.AutoReloadPreload = TIM_AUTORELOAD_PRELOAD_ENABLE;
  if (HAL_TIM_Base_Init(&htim1) != HAL_OK)
  {
    Error_Handler();
  }
  sClockSourceConfig.ClockSource = TIM_CLOCKSOURCE_INTERNAL;
  if (HAL_TIM_ConfigClockSource(&htim1, &sClockSourceConfig) != HAL_OK)
  {
    Error_Handler();
  }
  if (HAL_TIM_PWM_Init(&htim1) != HAL_OK)
  {
    Error_Handler();
  }
  sMasterConfig.MasterOutputTrigger = TIM_TRGO_RESET;
  sMasterConfig.MasterSlaveMode = TIM_MASTERSLAVEMODE_DISABLE;
  if (HAL_TIMEx_MasterConfigSynchronization(&htim1, &sMasterConfig) != HAL_OK)
  {
    Error_Handler();
  }
  sConfigOC.OCMode = TIM_OCMODE_PWM1;
  sConfigOC.Pulse = 480 -1;
  sConfigOC.OCPolarity = TIM_OCPOLARITY_HIGH;
  sConfigOC.OCNPolarity = TIM_OCNPOLARITY_HIGH;
  sConfigOC.OCFastMode = TIM_OCFAST_DISABLE;
  sConfigOC.OCIdleState = TIM_OCIDLESTATE_RESET;
  sConfigOC.OCNIdleState = TIM_OCNIDLESTATE_RESET;
  if (HAL_TIM_PWM_ConfigChannel(&htim1, &sConfigOC, TIM_CHANNEL_1) != HAL_OK)
  {
    Error_Handler();
  }
  sBreakDeadTimeConfig.OffStateRunMode = TIM_OSSR_DISABLE;
  sBreakDeadTimeConfig.OffStateIDLEMode = TIM_OSSI_DISABLE;
  sBreakDeadTimeConfig.LockLevel = TIM_LOCKLEVEL_OFF;
  sBreakDeadTimeConfig.DeadTime = 0;
  sBreakDeadTimeConfig.BreakState = TIM_BREAK_DISABLE;
  sBreakDeadTimeConfig.BreakPolarity = TIM_BREAKPOLARITY_HIGH;
  sBreakDeadTimeConfig.AutomaticOutput = TIM_AUTOMATICOUTPUT_DISABLE;
  if (HAL_TIMEx_ConfigBreakDeadTime(&htim1, &sBreakDeadTimeConfig) != HAL_OK)
  {
    Error_Handler();
  }
  HAL_TIM_MspPostInit(&htim1);

}

static void MX_TIM2_Init(void)
{

  TIM_ClockConfigTypeDef sClockSourceConfig = {0};
  TIM_MasterConfigTypeDef sMasterConfig = {0};
  TIM_OC_InitTypeDef sConfigOC = {0};

  htim2.Instance = TIM2;
  htim2.Init.Prescaler = 1000 - 1;
  htim2.Init.CounterMode = TIM_COUNTERMODE_UP;
  htim2.Init.Period = 150 - 1;
  htim2.Init.ClockDivision = TIM_CLOCKDIVISION_DIV1;
  htim2.Init.AutoReloadPreload = TIM_AUTORELOAD_PRELOAD_ENABLE;
  if (HAL_TIM_Base_Init(&htim2) != HAL_OK)
  {
    Error_Handler();
  }
  sClockSourceConfig.ClockSource = TIM_CLOCKSOURCE_INTERNAL;
  if (HAL_TIM_ConfigClockSource(&htim2, &sClockSourceConfig) != HAL_OK)
  {
    Error_Handler();
  }
  if (HAL_TIM_PWM_Init(&htim2) != HAL_OK)
  {
    Error_Handler();
  }
  sMasterConfig.MasterOutputTrigger = TIM_TRGO_RESET;
  sMasterConfig.MasterSlaveMode = TIM_MASTERSLAVEMODE_DISABLE;
  if (HAL_TIMEx_MasterConfigSynchronization(&htim2, &sMasterConfig) != HAL_OK)
  {
    Error_Handler();
  }
  sConfigOC.OCMode = TIM_OCMODE_PWM1;
  sConfigOC.Pulse = 30 - 1;
  sConfigOC.OCPolarity = TIM_OCPOLARITY_HIGH;
  sConfigOC.OCFastMode = TIM_OCFAST_DISABLE;
  if (HAL_TIM_PWM_ConfigChannel(&htim2, &sConfigOC, TIM_CHANNEL_4) != HAL_OK)
  {
    Error_Handler();
  }
  HAL_TIM_MspPostInit(&htim2);

}

static void MX_USART1_UART_Init(void)
{

  /* USER CODE BEGIN USART1_Init 0 */
  erpa_seq = 0;
  pmt_seq = 0;
  hk_seq = 0;
  /* USER CODE END USART1_Init 0 */

  huart1.Instance = USART1;
  huart1.Init.BaudRate = 57600;
  huart1.Init.WordLength = UART_WORDLENGTH_8B;
  huart1.Init.StopBits = UART_STOPBITS_1;
  huart1.Init.Parity = UART_PARITY_NONE;
  huart1.Init.Mode = UART_MODE_TX_RX;
  huart1.Init.HwFlowCtl = UART_HWCONTROL_NONE;
  huart1.Init.OverSampling = UART_OVERSAMPLING_16;
  huart1.Init.OneBitSampling = UART_ONE_BIT_SAMPLE_DISABLE;
  huart1.AdvancedInit.AdvFeatureInit = UART_ADVFEATURE_NO_INIT;
  if (HAL_UART_Init(&huart1) != HAL_OK)
  {
    Error_Handler();
  }

}

static void MX_DMA_Init(void)
{

  /* DMA controller clock enable */
  __HAL_RCC_DMA1_CLK_ENABLE();

  /* DMA interrupt init */
  /* DMA1_Channel1_IRQn interrupt configuration */
  HAL_NVIC_SetPriority(DMA1_Channel1_IRQn, 0, 0);
  HAL_NVIC_EnableIRQ(DMA1_Channel1_IRQn);

}

static void MX_GPIO_Init(void)
{
  GPIO_InitTypeDef GPIO_InitStruct = {0};

  /* GPIO Ports Clock Enable */
  __HAL_RCC_GPIOC_CLK_ENABLE();
  __HAL_RCC_GPIOF_CLK_ENABLE();
  __HAL_RCC_GPIOA_CLK_ENABLE();
  __HAL_RCC_GPIOB_CLK_ENABLE();

  /*Configure GPIO pin Output Level */
  HAL_GPIO_WritePin(GPIOC, GPIO_PIN_13|GPIO_PIN_6|GPIO_PIN_7|GPIO_PIN_8
                          |GPIO_PIN_9|GPIO_PIN_10, GPIO_PIN_RESET);

  /*Configure GPIO pin Output Level */
  HAL_GPIO_WritePin(GPIOF, GPIO_PIN_6|GPIO_PIN_7, GPIO_PIN_RESET);

  /*Configure GPIO pin Output Level */
  HAL_GPIO_WritePin(GPIOB, GPIO_PIN_5|GPIO_PIN_6, GPIO_PIN_RESET);

  /*Configure GPIO pins : PC13 PC6 PC7 PC8
                           PC9 PC10 */
  GPIO_InitStruct.Pin = GPIO_PIN_13|GPIO_PIN_6|GPIO_PIN_7|GPIO_PIN_8
                          |GPIO_PIN_9|GPIO_PIN_10;
  GPIO_InitStruct.Mode = GPIO_MODE_OUTPUT_PP;
  GPIO_InitStruct.Pull = GPIO_NOPULL;
  GPIO_InitStruct.Speed = GPIO_SPEED_FREQ_LOW;
  HAL_GPIO_Init(GPIOC, &GPIO_InitStruct);

  /*Configure GPIO pins : PF6 PF7 */
  GPIO_InitStruct.Pin = GPIO_PIN_6|GPIO_PIN_7;
  GPIO_InitStruct.Mode = GPIO_MODE_OUTPUT_PP;
  GPIO_InitStruct.Pull = GPIO_NOPULL;
  GPIO_InitStruct.Speed = GPIO_SPEED_FREQ_LOW;
  HAL_GPIO_Init(GPIOF, &GPIO_InitStruct);

  /*Configure GPIO pins : PB5 PB6 */
  GPIO_InitStruct.Pin = GPIO_PIN_5|GPIO_PIN_6;
  GPIO_InitStruct.Mode = GPIO_MODE_OUTPUT_PP;
  GPIO_InitStruct.Pull = GPIO_NOPULL;
  GPIO_InitStruct.Speed = GPIO_SPEED_FREQ_LOW;
  HAL_GPIO_Init(GPIOB, &GPIO_InitStruct);

}

void Error_Handler(void)
{
  __disable_irq();
  while (1)
  {
  }
}
